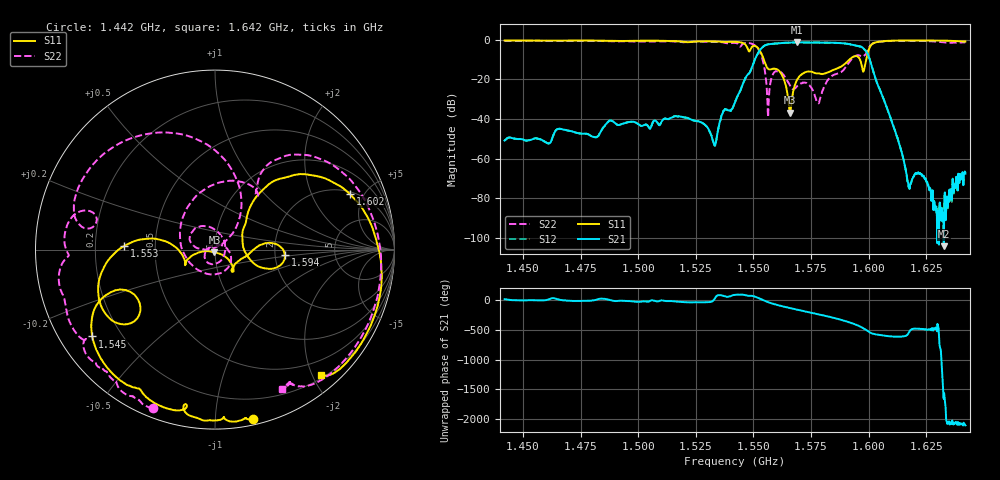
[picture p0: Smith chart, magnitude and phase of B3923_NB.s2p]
! Matrix data file written by TouchstoneData, EPCOS AG
! FILENAME: "newformat_LZ85A_3_NB.s2p"
! COMMENT: "(LZ85A_3_NB.s2p) EPCOS AG 06.12.2011 14:00:0"
! INFO: nport=2, nfreq=1601
! DATE: "Fri Dec  9 16:21:48 2011"
! USER: "Michael Schemies"
! port | pin | signal
!  1  |  2  |  in
!  2  |  5  |  out
# MHZ S MA R 50
! freq  magS11 angS11  magS21 angS21  magS12 angS12  magS22 angS22
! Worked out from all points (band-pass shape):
!   1601 points, 1.442 GHz to 1.642 GHz, reference 50 ohm
!   highest |S21| = -1.27 dB at 1.569 GHz (marker M1); lowest = -104.2 dB at 1.633 GHz (marker M2)
!   |S21| within 3 dB of the highest: 1.553 GHz to 1.598 GHz (44.27 MHz wide, 2.81 % of centre)
!   lowest |S11| = -36.8 dB at 1.566 GHz (marker M3), VSWR 1.03, Z = 49.7 - j1.4 ohm
!   |S11| at or under -10 dB: 1.555 GHz to 1.592 GHz (37.06 MHz wide, 2.36 % of centre); 1.596272 GHz to 1.598946 GHz (2.674 MHz wide, 0.167 % of centre)
!   |S22| runs from -39.1 to -0.4 dB; largest |S21 - S12| = 0.0017
!   S11 on the Smith chart (normalised r, x): 1.442 GHz: 0.04, -1.25; 1.545 GHz: 0.10, -0.32; 1.553 GHz: 0.33, +0.02; 1.594 GHz: 2.26, -0.17; 1.602 GHz: 2.15, +3.93; 1.642 GHz: 0.26, -2.13
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1442  0.9681 -77.2  0.002868 9.2  0.002878 9.3  0.947 -111.5
1475.375  0.965 -83.1  0.004284 -17.9  0.004283 -17.9  0.9438 -120.3
1508.75  0.9536 -94.0  0.00741 -26.1  0.007416 -26.2  0.9198 -136.1
1533.125  0.9174 -112.0  0.002149 13.1  0.002158 13.2  0.8847 -163.5
1542  0.8976 -128.8  0.02674 84.3  0.02677 84.2  0.8399 173.0
1545.375  0.838 -144.7  0.07677 85.7  0.07679 85.7  0.7891 168.1
1553  0.5084 177.9  0.5708 16.1  0.5713 16.0  0.4636 79.2
1556.375  0.1851 -171.2  0.771 -39.7  0.7719 -39.7  0.01107 125.7
1559.875  0.1843 -153.6  0.8115 -82.0  0.812 -82.0  0.1628 146.7
1565.875  0.01438 -102.2  0.8575 -138.9  0.8582 -138.9  0.06992 42.4
1569  0.09967 -37.5  0.8642 -166.1  0.8651 -166.2  0.06835 -58.8
1575.375  0.1574 -52.2  0.8549 141.3  0.856 141.3  0.05844 -160.1
1578.25  0.1425 -44.1  0.8533 117.5  0.8543 117.5  0.02501 95.7
1583.875  0.1654 -15.1  0.8499 67.3  0.8508 67.3  0.1206 -49.8
1589.5  0.2425 4.6  0.8144 8.3  0.8154 8.3  0.1876 176.3
1594.25  0.3903 -4.7  0.723 -53.2  0.7239 -53.2  0.3924 77.9
1598.625  0.2571 46.1  0.5406 -137.3  0.5412 -137.4  0.4273 56.5
1601.875  0.8127 22.4  0.171 152.0  0.1713 152.0  0.8166 34.0
1608.75  0.9495 -13.0  0.01417 108.9  0.01418 108.9  0.9355 -10.0
1617.5  0.9669 -30.1  0.0001912 177.1  0.0001896 173.5  0.9504 -36.0
1632.625  0.9588 -45.0  6.149e-06 140.6  7.33e-06 32.1  0.8681 -60.1
1642  0.9127 -49.7  0.0004187 57.0  0.0004207 57.5  0.8612 -64.5
